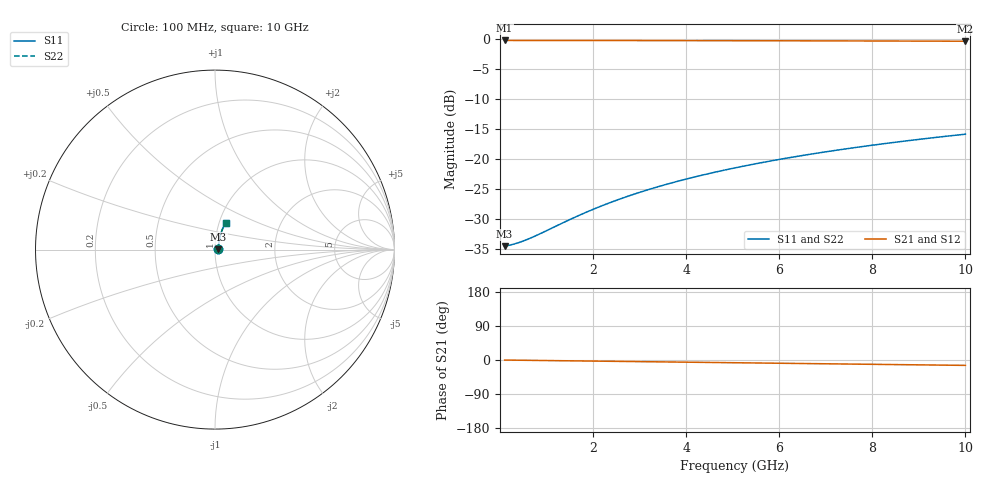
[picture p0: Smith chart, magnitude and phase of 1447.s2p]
# Hz S RI R 50.00
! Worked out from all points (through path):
!   100 points, 100 MHz to 10 GHz, reference 50 ohm
!   highest |S21| = -0.16 dB at 100 MHz (marker M1); lowest = -0.3 dB at 10 GHz (marker M2)
!   group delay of S21, straight-line fit = 3.95 ps
!   lowest |S11| = -34.5 dB at 100 MHz (marker M3), VSWR 1.04, Z = 51.9 + j0.165 ohm
!   |S11| at or under -10 dB: start of sweep to end of sweep
!   |S22| runs from -34.5 to -15.8 dB; largest |S21 - S12| = 0
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1e8  0.0187 0.00159  0.9813 -0.00245  0.9813 -0.00245  0.0187 0.00159
2e8  0.0188 0.00318  0.9812 -0.00491  0.9812 -0.00491  0.0188 0.00318
3e8  0.0189 0.00477  0.9811 -0.00736  0.9811 -0.00736  0.0189 0.00477
4e8  0.019 0.00636  0.981 -0.00981  0.981 -0.00981  0.019 0.00636
6e8  0.0192 0.00953  0.9808 -0.0147  0.9808 -0.0147  0.0192 0.00953
8e8  0.0194 0.0127  0.9805 -0.0196  0.9805 -0.0196  0.0194 0.0127
1.4e9  0.0201 0.0222  0.9798 -0.0343  0.9798 -0.0343  0.0201 0.0222
1.8e9  0.0208 0.0285  0.9791 -0.0441  0.9791 -0.0441  0.0208 0.0285
2.2e9  0.0215 0.0348  0.9783 -0.0538  0.9783 -0.0538  0.0215 0.0348
2.6e9  0.0223 0.0411  0.9774 -0.0636  0.9774 -0.0636  0.0223 0.0411
3e9  0.0233 0.0474  0.9764 -0.0733  0.9764 -0.0733  0.0233 0.0474
3.4e9  0.0244 0.0536  0.9752 -0.083  0.9752 -0.083  0.0244 0.0536
3.8e9  0.0255 0.0598  0.9739 -0.0926  0.9739 -0.0926  0.0255 0.0598
4.2e9  0.0269 0.066  0.9724 -0.1023  0.9724 -0.1023  0.0269 0.066
4.6e9  0.0283 0.0722  0.9709 -0.1119  0.9709 -0.1119  0.0283 0.0722
5.1e9  0.0303 0.0798  0.9687 -0.1239  0.9687 -0.1239  0.0303 0.0798
5.9e9  0.0338 0.0919  0.9649 -0.1429  0.9649 -0.1429  0.0338 0.0919
6.7e9  0.0378 0.1038  0.9605 -0.1617  0.9605 -0.1617  0.0378 0.1038
7.5e9  0.0422 0.1155  0.9556 -0.1803  0.9556 -0.1803  0.0422 0.1155
8.4e9  0.0477 0.1284  0.9496 -0.2011  0.9496 -0.2011  0.0477 0.1284
9.2e9  0.0531 0.1397  0.9437 -0.2192  0.9437 -0.2192  0.0531 0.1397
1e10  0.0588 0.1506  0.9373 -0.2372  0.9373 -0.2372  0.0588 0.1506
